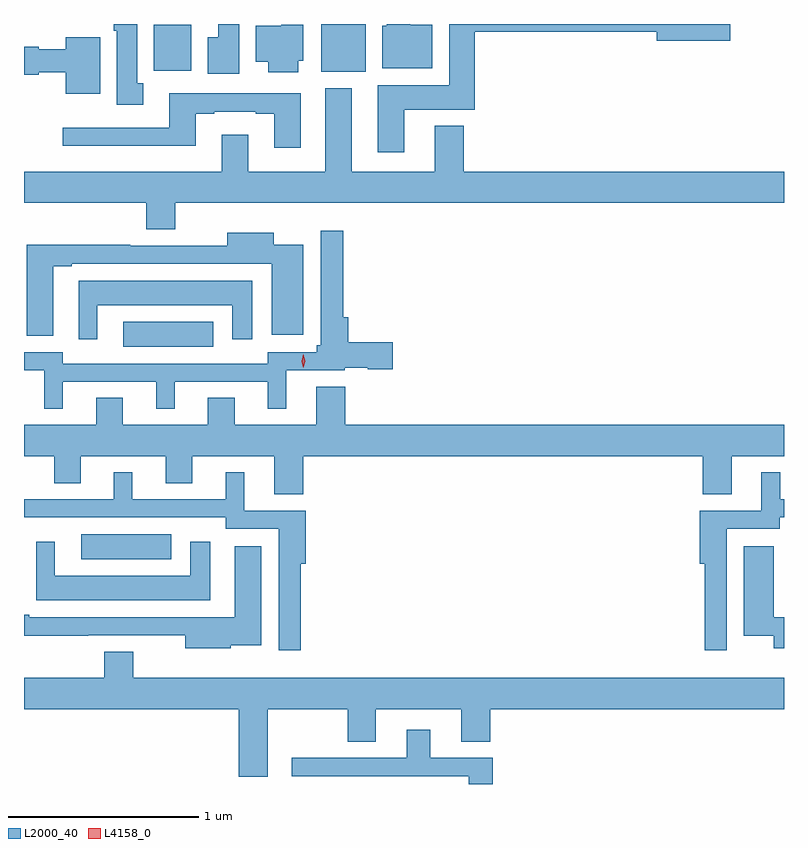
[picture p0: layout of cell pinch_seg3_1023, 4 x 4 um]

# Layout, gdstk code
import gdstk
lib = gdstk.Library(unit=1e-6, precision=1e-09)
def R(c, l, rs):  # rectangles x0, y0, x1, y1
    for r in rs: c.add(gdstk.rectangle(r[:2], r[2:], *l))
def P(c, l, *ps):  # polygons
    for p in ps: c.add(gdstk.Polygon(p, *l))
L2000_40 = (2000, 40)
L4158_0 = (4158, 0)

pinch_seg3_1023 = lib.new_cell('pinch_seg3_1023')
R(pinch_seg3_1023, L2000_40, [(573.681,704.369,574.156,704.5), (573.903,705.488,574.378,705.619), (574.946,706.934,575.179,707.186), (574.064,706.94,574.261,707.182)])
P(pinch_seg3_1023, L2000_40, [(575.383,706.736),(575.753,706.736),(575.753,707.146),(576.71,707.146),(576.71,707.099),(577.099,707.099),(577.099,707.186),(575.618,707.186),(575.618,706.864),(575.243,706.864),(575.243,706.512),(575.383,706.512)],
  [(574.009,706.874),(573.976,706.874),(573.976,707.186),(573.854,707.186),(573.854,707.15),(573.869,707.15),(573.869,706.761),(574.009,706.761)],
  [(574.513,707.186),(574.403,707.186),(574.403,707.116),(574.349,707.116),(574.349,706.923),(574.513,706.923)],
  [(575.53,707.182),(575.413,707.182),(575.413,707.186),(575.291,707.186),(575.291,707.178),(575.267,707.178),(575.267,706.952),(575.53,706.952)],
  [(574.825,706.992),(574.852,706.992),(574.852,707.182),(574.734,707.182),(574.734,707.176),(574.601,707.176),(574.601,706.988),(574.667,706.988),(574.667,706.931),(574.825,706.931)],
  [(573.781,707.116),(573.602,707.116),(573.602,707.053),(573.459,707.053),(573.459,707.066),(573.381,707.066),(573.381,706.919),(573.459,706.919),(573.459,706.932),(573.602,706.932),(573.602,706.82),(573.781,706.82)],
  [(574.177,706.244),(577.381,706.244),(577.381,706.408),(575.696,706.408),(575.696,706.651),(575.543,706.651),(575.543,706.408),(575.107,706.408),(575.107,706.849),(574.967,706.849),(574.967,706.408),(574.561,706.408),(574.561,706.603),(574.421,706.603),(574.421,706.408),(573.381,706.408),(573.381,706.244),(574.025,706.244),(574.025,706.105),(574.177,706.105)],
  [(574.837,706.821),(574.145,706.821),(574.145,706.641),(573.585,706.641),(573.585,706.544),(574.285,706.544),(574.285,706.713),(574.381,706.713),(574.381,706.725),(574.601,706.725),(574.601,706.713),(574.697,706.713),(574.697,706.536),(574.837,706.536)],
  [(573.586,705.303),(574.076,705.303),(574.076,705.162),(574.174,705.162),(574.174,705.303),(574.664,705.303),(574.664,705.162),(574.762,705.162),(574.762,705.363),(575.07,705.363),(575.07,705.377),(575.19,705.377),(575.19,705.37),(575.323,705.37),(575.323,705.512),(575.087,705.512),(575.087,705.643),(575.06,705.643),(575.06,706.099),(574.944,706.099),(574.944,705.495),(574.922,705.495),(574.922,705.459),(574.665,705.459),(574.665,705.399),(573.585,705.399),(573.585,705.459),(573.381,705.459),(573.381,705.363),(573.488,705.363),(573.488,705.162),(573.586,705.162)],
  [(573.535,705.912),(573.631,705.912),(573.631,705.924),(574.685,705.924),(574.685,705.551),(574.852,705.551),(574.852,706.023),(574.696,706.023),(574.696,706.087),(574.451,706.087),(574.451,706.02),(573.941,706.02),(573.941,706.023),(573.395,706.023),(573.395,705.546),(573.535,705.546)],
  [(573.766,705.707),(574.478,705.707),(574.478,705.528),(574.582,705.528),(574.582,705.835),(573.668,705.835),(573.668,705.528),(573.766,705.528)],
  [(574.85,704.912),(576.953,704.912),(576.953,704.71),(577.105,704.71),(577.105,704.912),(577.381,704.912),(577.381,705.076),(575.072,705.076),(575.072,705.278),(574.919,705.278),(574.919,705.076),(574.489,705.076),(574.489,705.218),(574.349,705.218),(574.349,705.076),(573.901,705.076),(573.901,705.218),(573.761,705.218),(573.761,705.076),(573.381,705.076),(573.381,704.912),(573.539,704.912),(573.539,704.77),(573.679,704.77),(573.679,704.912),(574.127,704.912),(574.127,704.77),(574.267,704.77),(574.267,704.912),(574.697,704.912),(574.697,704.71),(574.85,704.71)],
  [(574.838,704.345),(574.865,704.345),(574.865,704.625),(574.54,704.625),(574.54,704.827),(574.442,704.827),(574.442,704.685),(573.952,704.685),(573.952,704.827),(573.854,704.827),(573.854,704.685),(573.381,704.685),(573.381,704.589),(574.443,704.589),(574.443,704.529),(574.722,704.529),(574.722,703.89),(574.838,703.89)],
  [(577.08,704.529),(577.359,704.529),(577.359,704.589),(577.381,704.589),(577.381,704.685),(577.36,704.685),(577.36,704.827),(577.262,704.827),(577.262,704.625),(576.938,704.625),(576.938,704.345),(576.964,704.345),(576.964,703.89),(577.08,703.89)],
  [(574.36,704.461),(574.256,704.461),(574.256,704.281),(573.544,704.281),(573.544,704.461),(573.446,704.461),(573.446,704.153),(574.36,704.153)],
  [(574.47,703.916),(574.63,703.916),(574.63,704.437),(574.49,704.437),(574.49,704.064),(573.409,704.064),(573.409,704.077),(573.381,704.077),(573.381,703.966),(573.719,703.966),(573.719,703.968),(574.229,703.968),(574.229,703.901),(574.47,703.901)],
  [(577.381,704.064),(577.327,704.064),(577.327,704.437),(577.169,704.437),(577.169,703.966),(577.328,703.966),(577.328,703.901),(577.381,703.901)],
  [(574.663,703.58),(575.086,703.58),(575.086,703.408),(575.233,703.408),(575.233,703.58),(575.681,703.58),(575.681,703.408),(575.834,703.408),(575.834,703.58),(577.381,703.58),(577.381,703.744),(573.955,703.744),(573.955,703.883),(573.803,703.883),(573.803,703.744),(573.381,703.744),(573.381,703.58),(574.511,703.58),(574.511,703.223),(574.663,703.223)],
  [(575.849,703.323),(575.518,703.323),(575.518,703.471),(575.396,703.471),(575.396,703.323),(574.791,703.323),(574.791,703.227),(575.723,703.227),(575.723,703.186),(575.849,703.186)])
P(pinch_seg3_1023, L4158_0, [(574.852,705.376),(574.852,705.376),(574.842,705.412),(574.851,705.448),(574.851,705.448),(574.852,705.448),(574.862,705.412),(574.852,705.376)])

lib.write_gds('pinch_seg3_1023.gds')
